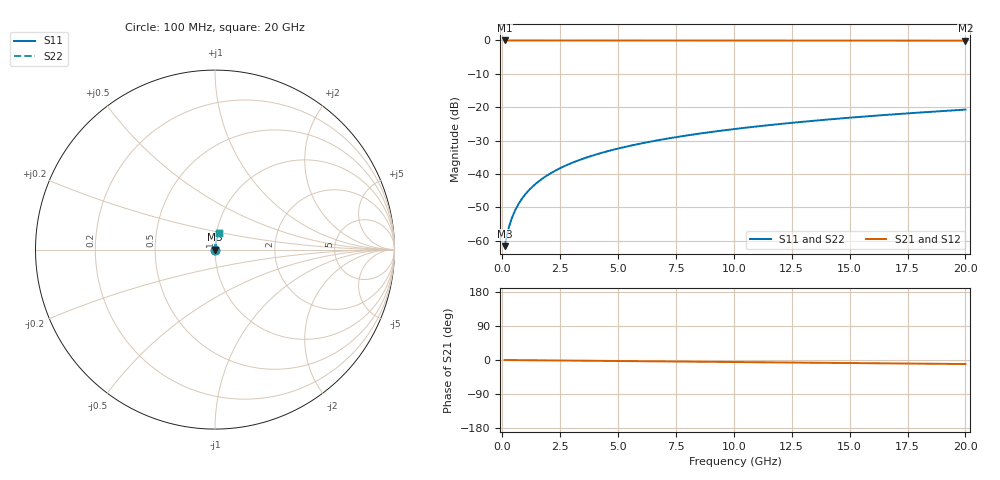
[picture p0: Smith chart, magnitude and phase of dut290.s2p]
! Touchstone file exported from HFSS 2026.1.0
!  File:  C:/ffzhzh/LocalFiles/Ansys_Project_Files/temp_train_TSV_290_1782993737_6248.aedt
!  Generated:  08:04:22 PM Jul  2, 2026
!  Design:  TSV
!  Project:  temp_train_TSV_290_1782993737_6248
! Variables:
!  h_bsmrdl = 2um
!  h_ox = 20um
!  h_rdl = 5um
!  h_sub = 93.92um
!  h_tmrdl = 5um
!  h_tsv = 93.92um
!  h_via = 3um
!  l_bsmrdl = 300um
!  l_sub = 408.26um
!  l_tmrdl = 200um
!  m_sub = 200um
!  pitch = 39.45um
!  r_tsv = 4.13um
!  s_tmrdl = 10um
!  w_bsmrdl = 18um
!  w_sub = 500um
!  w_tmrdl = 12um
!  x_tsv_center1 = 206um
!  x_tsv_center2 = 524um
!  x_tsv_center3 = 736um
!  x_tsv_center4 = 1054um
!  x_tsv_center5 = 1266um
!  x_tsv_center6 = 1584um
# GHz S MA R 50.000000
! Terminal data exported
! Port[1] = TSV1_1_T1
! Port[2] = TSV1_1_T2
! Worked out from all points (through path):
!   200 points, 100 MHz to 20 GHz, reference 50 ohm
!   highest |S21| = -0.01 dB at 100 MHz (marker M1); lowest = -0.1 dB at 20 GHz (marker M2)
!   group delay of S21, straight-line fit = 1.48 ps
!   lowest |S11| = -61.6 dB at 100 MHz (marker M3), VSWR 1.00, Z = 50.1 + j0.0507 ohm
!   |S11| at or under -10 dB: start of sweep to end of sweep
!   |S22| runs from -61.6 to -20.7 dB; largest |S21 - S12| = 4.4e-15
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0.1  0.0008291 37.7  0.9993 -0.1  0.9993 -0.1  0.0008291 37.7
! Gamma 0 0 0 0
! Port Impedance 50 0 50 0
0.2  0.001211 56.5  0.9993 -0.1  0.9993 -0.1  0.001211 56.5
0.3  0.001655 65.6  0.9993 -0.2  0.9993 -0.2  0.001655 65.6
0.4  0.00212 70.7  0.9993 -0.2  0.9993 -0.2  0.00212 70.7
0.5  0.002592 73.9  0.9993 -0.3  0.9993 -0.3  0.002592 73.9
0.6  0.003068 76.1  0.9993 -0.3  0.9993 -0.3  0.003068 76.1
0.8  0.004026 78.9  0.9992 -0.4  0.9992 -0.4  0.004026 78.9
1.1  0.005471 81.3  0.9992 -0.6  0.9992 -0.6  0.005471 81.3
1.5  0.007403 82.8  0.9991 -0.8  0.9991 -0.8  0.007403 82.8
1.8  0.008851 83.4  0.9991 -1.0  0.9991 -1.0  0.008851 83.4
2.1  0.0103 83.8  0.999 -1.2  0.999 -1.2  0.0103 83.8
2.7  0.01318 84.2  0.9989 -1.5  0.9989 -1.5  0.01318 84.2
3.5  0.01698 84.2  0.9987 -1.9  0.9987 -1.9  0.01698 84.2
4.2  0.02029 84.1  0.9985 -2.3  0.9985 -2.3  0.02029 84.1
5  0.02403 83.9  0.9983 -2.7  0.9983 -2.7  0.02403 83.9
5.9  0.02821 83.6  0.998 -3.2  0.998 -3.2  0.02821 83.6
6.8  0.03237 83.3  0.9978 -3.7  0.9978 -3.7  0.03237 83.3
8.3  0.03925 82.8  0.9973 -4.5  0.9973 -4.5  0.03925 82.8
10.1  0.04747 82.0  0.9968 -5.4  0.9968 -5.4  0.04747 82.0
13.4  0.06243 80.6  0.9957 -7.2  0.9957 -7.2  0.06243 80.6
16.7  0.07727 79.1  0.9943 -8.9  0.9943 -8.9  0.07727 79.1
20  0.09195 77.5  0.9928 -10.7  0.9928 -10.7  0.09195 77.5
